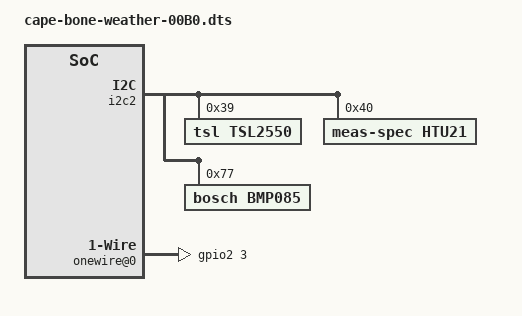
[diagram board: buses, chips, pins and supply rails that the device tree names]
/*
* Copyright (C) 2012 Texas Instruments Incorporated - http://www.ti.com/
*
* This program is free software; you can redistribute it and/or modify
* it under the terms of the GNU General Public License version 2 as
* published by the Free Software Foundation.
*/
/dts-v1/;
/plugin/;

/ {
	compatible = "ti,beaglebone", "ti,beaglebone-black";

	part-number = "BB-BONE-WTHR-01";
	version = "00B0";

	/* state the resources this cape uses */
	exclusive-use =
		/* the pin header uses */
		"P8.6",		/* gpio1_3 */
		/* the hardware IP uses */
		"gpio1_3";

	fragment@0 {
               target = <&am33xx_pinmux>;
               __overlay__ {
			weather_cape_w1_pins: pinmux_weather_cape_w1_pins {
				pinctrl-single,pins = <
					0x0c 0x37       /* gpmc_ad3.gpio1_3, OMAP_PIN_INPUT_PULLUP | OMAP_MUX_MODE7 - w1-gpio */
				>;
			};
               };
	};

	fragment@1 {
               target = <&i2c2>;

               __overlay__ {
		       /* needed to avoid gripping by DTC */
		       #address-cells = <1>;
		       #size-cells = <0>;

		       /* Ambient light sensor */
		       tsl2550@39 {
			       compatible = "tsl,tsl2550";
			       reg = <0x39>;
		       };

		       /* Humidity Sensor */
		       htu21@40 {
			       compatible = "meas-spec,htu21";
			       reg = <0x40>;
		       };

		       /* Barometric pressure sensor */
		       bmp085@77 {
			       compatible = "bosch,bmp085";
			       reg = <0x77>;
		       };
               };
	};

	fragment@2 {
               target = <&ocp>;
               __overlay__ {
		       onewire@0 {
			       compatible      = "w1-gpio";
			       pinctrl-names   = "default";
			       pinctrl-0       = <&weather_cape_w1_pins>;
			       status          = "okay";

			       gpios = <&gpio2 3 0>;
		       };
               };
	};
};
